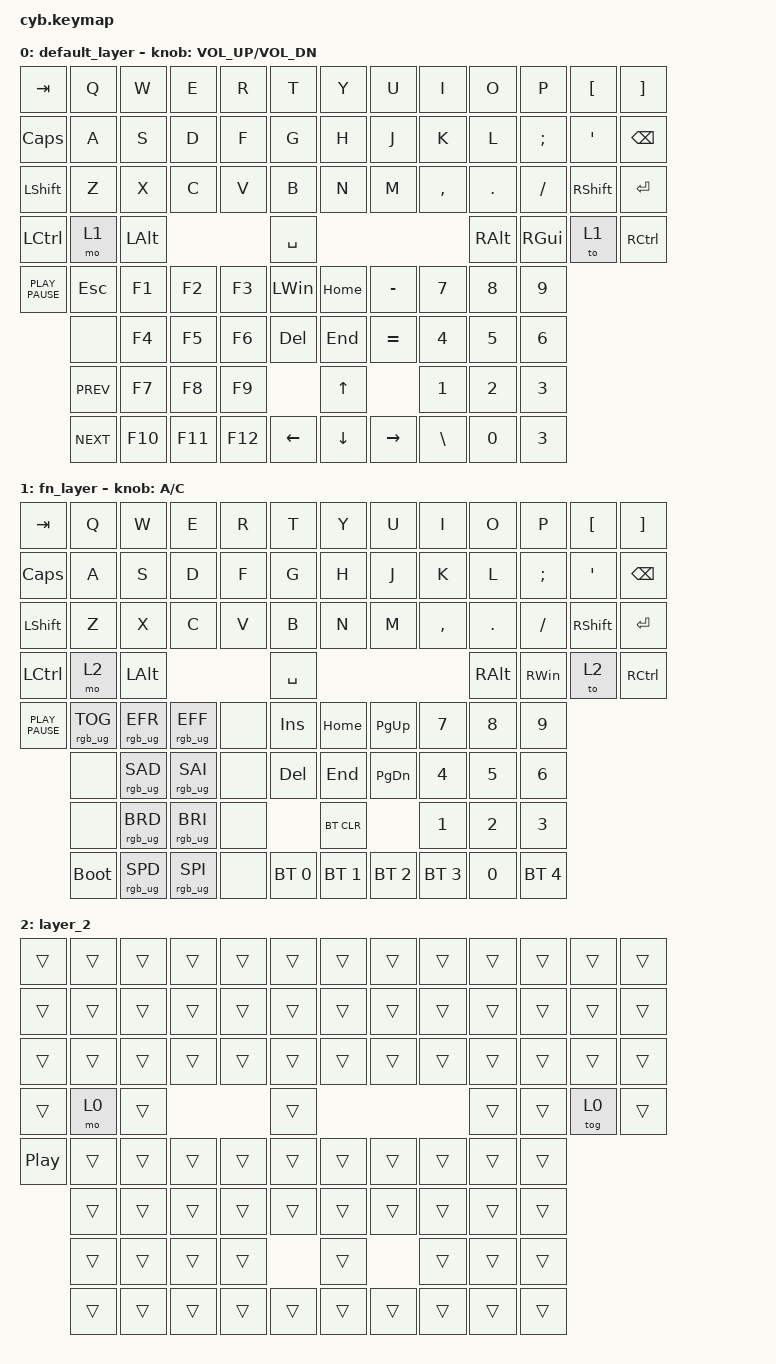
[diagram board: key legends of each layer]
/*
 * Copyright (c) 2020 The ZMK Contributors
 *
 * SPDX-License-Identifier: MIT
 */

#include <behaviors.dtsi>
#include <dt-bindings/zmk/bt.h>
#include <dt-bindings/zmk/keys.h>
#include <dt-bindings/zmk/rgb.h>

/ {
    keymap0: keymap {
        compatible = "zmk,keymap";

        default_layer {
            // --------------------------------------------------------------------------------------------------------------------------------------------------------------
            //  | TAB  |  Q  |  W  |  E  |  R  |  T  |  Y  |  U  |  I  |  O  |  P  |     [    |   ]   |
            //  | CAPS  |  A  |  S  |  D  |  F  |  G  |  H  |  J  |  K  |  L  |  ;  |     '   |  BKSP |
            //  |  SHIFT  |  Z  |  X  |  C  |  V  |  B  |  N  |  M  |  ,  |  .  |  /  | SHIFT |   1   |
            //  |  CTL  |  fn  |  ALT  |           SPACE              |  ALT  |  CTL  |   1   |   1   |
            //  |  1  ||  1  ||  2  |  3  |   4  ||  5  |  6  |  7  ||  8  |  9  |  1  |
            //         |  1  ||  2  |  3  |   4  ||  5  |  6  |  7  ||  8  |  9  |  1  |
            //         |  1  ||  2  |  3  |   4  |      |  6  |      |  8  |  9  |  1  |
            //         |  1  ||  2  |  3  |   4  ||  5  |  6  |  7  ||  8  |  9  |  1  |
            // --------------------------------------------------------------------------------------------------------------------------------------------------------------

            bindings = <
&kp TAB           &kp Q       &kp W         &kp E    &kp R    &kp T       &kp Y     &kp U      &kp I          &kp O          &kp P          &kp LBKT   &kp RBKT
&kp CLCK          &kp A       &kp S         &kp D    &kp F    &kp G       &kp H     &kp J      &kp K          &kp L          &kp SEMI       &kp SQT    &kp BSPC
&kp LSHFT         &kp Z       &kp X         &kp C    &kp V    &kp B       &kp N     &kp M      &kp COMMA      &kp DOT        &kp FSLH       &kp RSHFT  &kp ENTER
&kp LCTRL         &mo 1       &kp LEFT_ALT                    &kp SPACE                                       &kp RIGHT_ALT  &kp RIGHT_GUI  &to 1      &kp RCTRL
&kp K_PLAY_PAUSE  &kp ESC     &kp F1        &kp F2   &kp F3   &kp LWIN    &kp HOME  &kp MINUS  &kp N7         &kp N8         &kp N9
                  &none       &kp F4        &kp F5   &kp F6   &kp DELETE  &kp END   &kp EQUAL  &kp NUMBER_4   &kp N5         &kp N6
                  &kp K_PREV  &kp F7        &kp F8   &kp F9               &kp UP               &kp N1         &kp N2         &kp N3
                  &kp K_NEXT  &kp F10       &kp F11  &kp F12  &kp LEFT    &kp DOWN  &kp RIGHT  &kp BACKSLASH  &kp N0         &kp N3
            >;

            // 定义旋钮

            sensor-bindings = <&inc_dec_kp C_VOL_UP C_VOL_DN>;

            // 定义旋钮
        };

        fn_layer {
            // --------------------------------------------------------------------------------------------------------------------------------------------------------------
            //  | TAB  |  Q  |  W  |  E  |  R  |  T  |  Y  |  U  |  I  |  O  |  P  |     [    |   ]   |
            //  | CAPS  |  A  |  S  |  D  |  F  |  G  |  H  |  J  |  K  |  L  |  ;  |     '   |  BKSP |
            //  |  SHIFT  |  Z  |  X  |  C  |  V  |  B  |  N  |  M  |  ,  |  .  |  /  | SHIFT |   1   |
            //  |  CTL  |  fn  |  ALT  |           SPACE              |  ALT  |  CTL  |   1   |   1   |
            //  |  1  ||  2  ||  2  |  3  |   4  ||  5  |  6  |  7  ||  8  |  9  |  1  |
            //         |  1  ||  2  |  3  |   4  ||  5  |  6  |  7  ||  8  |  9  |  1  |
            //         |  1  ||  2  |  3  |   4  |      |  6  |      |  8  |  9  |  1  |
            //         |  1  ||  2  |  3  |   4  ||  5  |  6  |  7  ||  8  |  9  |  1  |
            // --------------------------------------------------------------------------------------------------------------------------------------------------------------

            bindings = <
&kp TAB           &kp Q            &kp W            &kp E            &kp R  &kp T         &kp Y         &kp U          &kp I         &kp O     &kp P         &kp LBKT   &kp RBKT
&kp CLCK          &kp A            &kp S            &kp D            &kp F  &kp G         &kp H         &kp J          &kp K         &kp L     &kp SEMI      &kp SQT    &kp BSPC
&kp LSHFT         &kp Z            &kp X            &kp C            &kp V  &kp B         &kp N         &kp M          &kp COMMA     &kp DOT   &kp FSLH      &kp RSHFT  &kp ENTER
&kp LCTRL         &mo 2            &kp LALT                                 &kp SPACE                                                &kp RALT  &kp RWIN      &to 2      &kp RIGHT_CONTROL
&kp K_PLAY_PAUSE  &rgb_ug RGB_TOG  &rgb_ug RGB_EFR  &rgb_ug RGB_EFF  &none  &kp INS       &kp HOME      &kp PAGE_UP    &kp N7        &kp N8    &kp N9
                  &none            &rgb_ug RGB_SAD  &rgb_ug RGB_SAI  &none  &kp DELETE    &kp END       &kp PAGE_DOWN  &kp N4        &kp N5    &kp N6
                  &none            &rgb_ug RGB_BRD  &rgb_ug RGB_BRI  &none                &bt BT_CLR                   &kp N1        &kp N2    &kp N3
                  &bootloader      &rgb_ug RGB_SPD  &rgb_ug RGB_SPI  &none  &bt BT_SEL 0  &bt BT_SEL 1  &bt BT_SEL 2   &bt BT_SEL 3  &kp N0    &bt BT_SEL 4
            >;

            // 定义旋钮

            sensor-bindings = <&inc_dec_kp A C>;

            // 定义旋钮
        };

        layer_2 {
            bindings = <
&trans            &trans  &trans  &trans  &trans  &trans  &trans  &trans  &trans  &trans  &trans  &trans  &trans
&trans            &trans  &trans  &trans  &trans  &trans  &trans  &trans  &trans  &trans  &trans  &trans  &trans
&trans            &trans  &trans  &trans  &trans  &trans  &trans  &trans  &trans  &trans  &trans  &trans  &trans
&trans            &mo 0   &trans                  &trans                          &trans  &trans  &tog 0  &trans
&kp C_PLAY_PAUSE  &trans  &trans  &trans  &trans  &trans  &trans  &trans  &trans  &trans  &trans
                  &trans  &trans  &trans  &trans  &trans  &trans  &trans  &trans  &trans  &trans
                  &trans  &trans  &trans  &trans          &trans          &trans  &trans  &trans
                  &trans  &trans  &trans  &trans  &trans  &trans  &trans  &trans  &trans  &trans
            >;
        };
    };
};
